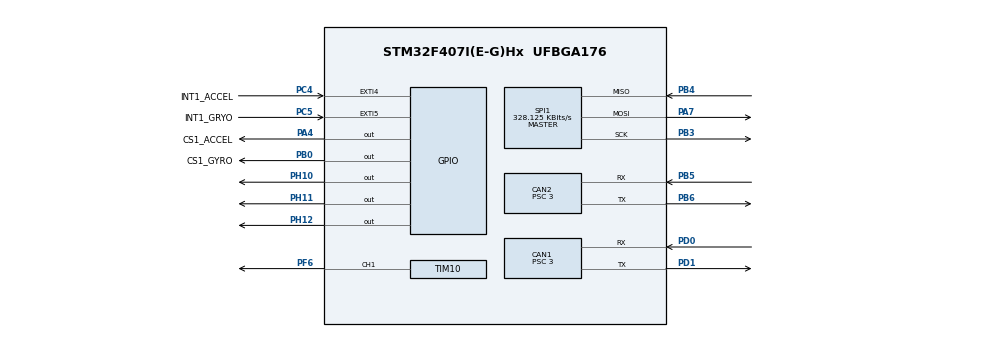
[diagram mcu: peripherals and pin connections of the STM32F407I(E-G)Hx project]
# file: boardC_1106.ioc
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CAN1.BS1=CAN_BS1_10TQ
CAN1.BS2=CAN_BS2_3TQ
CAN1.CalculateBaudRate=1000000
CAN1.CalculateTimeBit=999.99
CAN1.CalculateTimeQuantum=71.42857142857143
CAN1.Prescaler=3
CAN2.BS1=CAN_BS1_10TQ
CAN2.BS2=CAN_BS2_3TQ
CAN2.CalculateBaudRate=1000000
CAN2.CalculateTimeBit=999.99
CAN2.CalculateTimeQuantum=71.42857142857143
CAN2.Prescaler=3
Dma.Request0=SPI1_RX
Dma.Request1=SPI1_TX
Dma.SPI1_RX.0.Direction=DMA_PERIPH_TO_MEMORY
Dma.SPI1_RX.0.FIFOMode=DMA_FIFOMODE_DISABLE
Dma.SPI1_RX.0.Instance=DMA2_Stream2
Dma.SPI1_RX.0.MemDataAlignment=DMA_MDATAALIGN_BYTE
Dma.SPI1_RX.0.MemInc=DMA_MINC_ENABLE
Dma.SPI1_RX.0.Mode=DMA_NORMAL
Dma.SPI1_RX.0.PeriphDataAlignment=DMA_PDATAALIGN_BYTE
Dma.SPI1_RX.0.PeriphInc=DMA_PINC_DISABLE
Dma.SPI1_RX.0.Priority=DMA_PRIORITY_VERY_HIGH
Dma.SPI1_TX.1.Direction=DMA_MEMORY_TO_PERIPH
Dma.SPI1_TX.1.FIFOMode=DMA_FIFOMODE_DISABLE
Dma.SPI1_TX.1.Instance=DMA2_Stream3
Dma.SPI1_TX.1.MemDataAlignment=DMA_MDATAALIGN_BYTE
Dma.SPI1_TX.1.MemInc=DMA_MINC_ENABLE
Dma.SPI1_TX.1.Mode=DMA_NORMAL
Dma.SPI1_TX.1.PeriphDataAlignment=DMA_PDATAALIGN_BYTE
Dma.SPI1_TX.1.PeriphInc=DMA_PINC_DISABLE
Dma.SPI1_TX.1.Priority=DMA_PRIORITY_HIGH
Mcu.Family=STM32F4
Mcu.Name=STM32F407I(E-G)Hx
Mcu.Package=UFBGA176
NVIC.CAN1_RX0_IRQn=true\:0\:0\:false\:false\:true\:true\:true
NVIC.CAN1_RX1_IRQn=true\:0\:0\:false\:false\:true\:true\:true
NVIC.CAN1_SCE_IRQn=true\:0\:0\:false\:false\:true\:true\:true
NVIC.CAN1_TX_IRQn=true\:0\:0\:false\:false\:true\:true\:true
NVIC.DMA2_Stream2_IRQn=true\:5\:0\:true\:false\:true\:false\:true
NVIC.DMA2_Stream3_IRQn=true\:0\:0\:false\:false\:true\:false\:true
NVIC.PriorityGroup=NVIC_PRIORITYGROUP_4
PA13.Mode=Serial_Wire
PA13.Signal=SYS_JTMS-SWDIO
PA14.Mode=Serial_Wire
PA14.Signal=SYS_JTCK-SWCLK
PA4.GPIO_Label=CS1_ACCEL
PA4.GPIO_ModeDefaultOutputPP=GPIO_MODE_OUTPUT_PP
PA4.GPIO_PuPd=GPIO_PULLUP
PA4.GPIO_Speed=GPIO_SPEED_FREQ_HIGH
PA4.PinState=GPIO_PIN_SET
PA4.Signal=GPIO_Output
PA7.Mode=Full_Duplex_Master
PA7.Signal=SPI1_MOSI
PB0.GPIO_Label=CS1_GYRO
PB0.GPIO_ModeDefaultOutputPP=GPIO_MODE_OUTPUT_PP
PB0.GPIO_PuPd=GPIO_PULLUP
PB0.GPIO_Speed=GPIO_SPEED_FREQ_HIGH
PB0.PinState=GPIO_PIN_SET
PB0.Signal=GPIO_Output
PB3.Mode=Full_Duplex_Master
PB3.Signal=SPI1_SCK
PB4.Mode=Full_Duplex_Master
PB4.Signal=SPI1_MISO
PB5.Mode=CAN_Activate
PB5.Signal=CAN2_RX
PB6.Mode=CAN_Activate
PB6.Signal=CAN2_TX
PC4.GPIO_Label=INT1_ACCEL
PC4.GPIO_ModeDefaultEXTI=GPIO_MODE_IT_FALLING
PC4.GPIO_PuPd=GPIO_PULLUP
PC4.Signal=GPXTI4
PC5.GPIO_Label=INT1_GRYO
PC5.GPIO_ModeDefaultEXTI=GPIO_MODE_IT_FALLING
PC5.GPIO_PuPd=GPIO_PULLUP
PC5.Signal=GPXTI5
PD0.GPIO_PuPd=GPIO_NOPULL
PD0.Mode=CAN_Activate
PD0.Signal=CAN1_RX
PD1.Mode=CAN_Activate
PD1.Signal=CAN1_TX
PF6.Signal=S_TIM10_CH1
PH0-OSC_IN.Mode=HSE-External-Oscillator
PH0-OSC_IN.Signal=RCC_OSC_IN
PH1-OSC_OUT.Mode=HSE-External-Oscillator
PH1-OSC_OUT.Signal=RCC_OSC_OUT
PH10.GPIO_ModeDefaultOutputPP=GPIO_MODE_OUTPUT_PP
PH10.GPIO_PuPd=GPIO_NOPULL
PH10.GPIO_Speed=GPIO_SPEED_FREQ_VERY_HIGH
PH10.Signal=GPIO_Output
PH11.Signal=GPIO_Output
PH12.Signal=GPIO_Output
ProjectManager.HeapSize=0x200
ProjectManager.StackSize=0x400
ProjectManager.TargetToolchain=MDK-ARM V5.27
RCC.48MHZClocksFreq_Value=84000000
RCC.AHBFreq_Value=168000000
RCC.APB1CLKDivider=RCC_HCLK_DIV4
RCC.APB1Freq_Value=42000000
RCC.APB1TimFreq_Value=84000000
RCC.APB2CLKDivider=RCC_HCLK_DIV2
RCC.APB2Freq_Value=84000000
RCC.APB2TimFreq_Value=168000000
RCC.CortexFreq_Value=168000000
RCC.HCLKFreq_Value=168000000
RCC.HSE_VALUE=12000000
RCC.HSI_VALUE=16000000
RCC.LSE_VALUE=32768
RCC.PLLM=6
RCC.PLLN=168
RCC.PLLSourceVirtual=RCC_PLLSOURCE_HSE
RCC.SYSCLKFreq_VALUE=168000000
RCC.SYSCLKSource=RCC_SYSCLKSOURCE_PLLCLK
RCC.VCOOutputFreq_Value=336000000
SH.S_TIM10_CH1.0=TIM10_CH1,PWM Generation1 CH1
SPI1.BaudRatePrescaler=SPI_BAUDRATEPRESCALER_256
SPI1.CLKPhase=SPI_PHASE_2EDGE
SPI1.CLKPolarity=SPI_POLARITY_HIGH
SPI1.CalculateBaudRate=328.125 KBits/s
SPI1.Direction=SPI_DIRECTION_2LINES
SPI1.Mode=SPI_MODE_MASTER
SPI1.VirtualType=VM_MASTER
TIM10.Channel=TIM_CHANNEL_1
TIM10.Period=4999
VP_TIM10_VS_ClockSourceINT.Mode=Enable_Timer
board=custom

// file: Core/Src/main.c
/* USER CODE BEGIN Header */
/**
  ******************************************************************************
  * @file           : main.c
  * @brief          : Main program body
  ******************************************************************************
  * @attention
  *
  * <h2><center>&copy; Copyright (c) 2024 STMicroelectronics.
  * All rights reserved.</center></h2>
  *
  * This software component is licensed by ST under BSD 3-Clause license,
  * the "License"; You may not use this file except in compliance with the
  * License. You may obtain a copy of the License at:
  *                        opensource.org/licenses/BSD-3-Clause
  *
  ******************************************************************************
  */
/* USER CODE END Header */
#include "main.h"
#include "can.h"
#include "dma.h"
#include "spi.h"
#include "tim.h"
#include "gpio.h"

/* USER CODE BEGIN Includes */
#include "bsp_can.h"
#include "CAN_receive.h"
#include "BMI088driver.h"
/* USER CODE END Includes */

void SystemClock_Config(void);

/* USER CODE BEGIN 0 */
 fp32 gyro[3], accel[3], temp;
/* USER CODE END 0 */

int main(void)
{
  /* USER CODE BEGIN 1 */
   uint32_t count = 0;
  /* USER CODE END 1 */

  /* MCU Configuration--------------------------------------------------------*/

  /* Reset of all peripherals, Initializes the Flash interface and the Systick. */
  HAL_Init();

  /* USER CODE BEGIN Init */
  //uint8_t cmd0,cmd1,cmd2;

  /* USER CODE END Init */

  /* Configure the system clock */
  SystemClock_Config();

  /* Initialize all configured peripherals */
  MX_GPIO_Init();
  MX_DMA_Init();
  MX_CAN1_Init();
  MX_CAN2_Init();
  MX_SPI1_Init();
  MX_TIM10_Init();
  /* USER CODE BEGIN 2 */

	can_filter_init();
  LL_SYSTICK_EnableIT();
	extern motor_measure_lk motor_lk_m1;
	extern CAN_HandleTypeDef hcan1;
	BMI088_init();
  while(BMI088_init())
  {
       ;
  }

	int flag = 0;

  /* USER CODE END 2 */

  /* Infinite loop */
  while (1)
  {

    /* USER CODE BEGIN 3 */
		//get_LK_motor_measure_point();

	  BMI088_read(gyro, accel, &temp);
    //HAL_Delay(1);

		count ++;
		HAL_Delay(1);
		if(flag==0)
		{
			CAN_cmd_MF6015_cmd(startMotor);
      flag=1;
			LL_GPIO_ResetOutputPin(GPIOH,LL_GPIO_PIN_12);
		}
		//CAN_cmd_MF6015_torque(500);
		if(count >= 1000)
		{
		   CAN_cmd_MF6015_speed(100*360*2);
			 LL_GPIO_SetOutputPin(GPIOH,LL_GPIO_PIN_12);
		}
		if(count <= 1000)
		{
			CAN_cmd_MF6015_speed(-100*360*2);
		}

		if(count >= 3000)
		{
			count =0;
			LL_GPIO_ResetOutputPin(GPIOH,LL_GPIO_PIN_12);
		}
		//CAN_cmd_MF6015_data();
	  //HAL_CAN_RxFifo0MsgPendingCallback(&hcan1);

  }
  /* USER CODE END 3 */
}

void SystemClock_Config(void)
{
  LL_FLASH_SetLatency(LL_FLASH_LATENCY_5);
  while(LL_FLASH_GetLatency()!= LL_FLASH_LATENCY_5)
  {
  }
  LL_PWR_SetRegulVoltageScaling(LL_PWR_REGU_VOLTAGE_SCALE1);
  LL_RCC_HSE_Enable();

   /* Wait till HSE is ready */
  while(LL_RCC_HSE_IsReady() != 1)
  {

  }
  LL_RCC_PLL_ConfigDomain_SYS(LL_RCC_PLLSOURCE_HSE, LL_RCC_PLLM_DIV_6, 168, LL_RCC_PLLP_DIV_2);
  LL_RCC_PLL_Enable();

   /* Wait till PLL is ready */
  while(LL_RCC_PLL_IsReady() != 1)
  {

  }
  LL_RCC_SetAHBPrescaler(LL_RCC_SYSCLK_DIV_1);
  LL_RCC_SetAPB1Prescaler(LL_RCC_APB1_DIV_4);
  LL_RCC_SetAPB2Prescaler(LL_RCC_APB2_DIV_2);
  LL_RCC_SetSysClkSource(LL_RCC_SYS_CLKSOURCE_PLL);

   /* Wait till System clock is ready */
  while(LL_RCC_GetSysClkSource() != LL_RCC_SYS_CLKSOURCE_STATUS_PLL)
  {

  }
  LL_SetSystemCoreClock(168000000);

   /* Update the time base */
  if (HAL_InitTick (TICK_INT_PRIORITY) != HAL_OK)
  {
    Error_Handler();
  }
}

void Error_Handler(void)
{
  __disable_irq();
  while (1)
  {
  }
}

/************************ (C) COPYRIGHT STMicroelectronics *****END OF FILE****/
